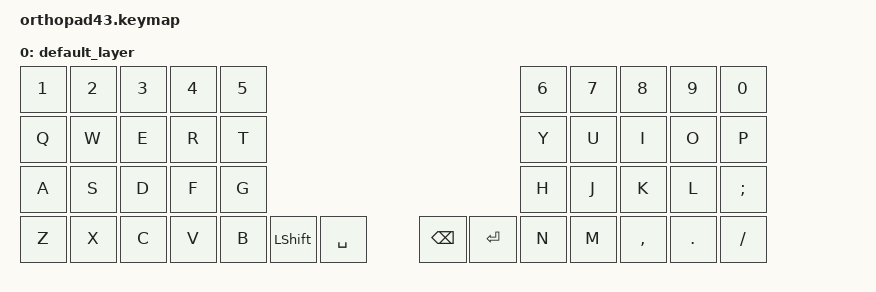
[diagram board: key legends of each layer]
#include <behaviors.dtsi>
#include <dt-bindings/zmk/keys.h>

/ {
    keymap {
        compatible = "zmk,keymap";

        // Layer 0
        default_layer {
            bindings = <
&kp 1    &kp 2    &kp 3    &kp 4    &kp 5                                                     &kp 6    &kp 7    &kp 8    &kp 9    &kp 0
&kp Q    &kp W    &kp E    &kp R    &kp T                                                     &kp Y    &kp U    &kp I    &kp O    &kp P
&kp A    &kp S    &kp D    &kp F    &kp G                                                     &kp H    &kp J    &kp K    &kp L    &kp SEMI
&kp Z    &kp X    &kp C    &kp V    &kp B    &kp LSHFT    &kp SPACE    &kp BSPC    &kp RET    &kp N    &kp M    &kp COMMA    &kp DOT    &kp SLASH
            >;
        };
    };
 };
